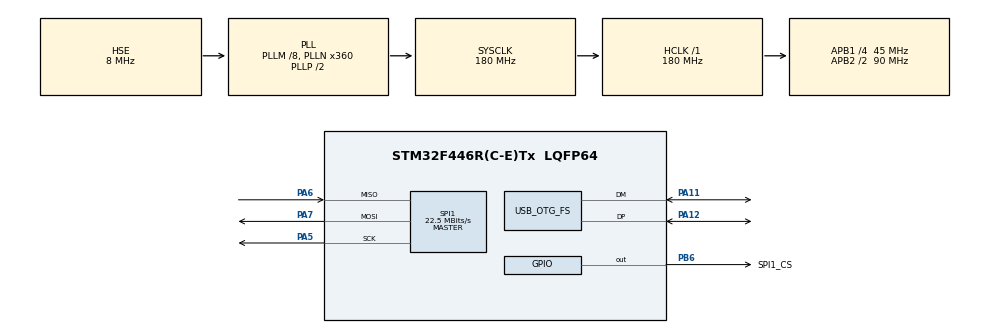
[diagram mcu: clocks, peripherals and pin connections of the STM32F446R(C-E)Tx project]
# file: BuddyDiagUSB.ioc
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Mcu.Family=STM32F4
USB_DEVICE.VirtualMode-MSC_FS=Msc
PA6.Mode=Full_Duplex_Master
USB_DEVICE.CLASS_NAME_FS=MSC
PH0-OSC_IN.Signal=RCC_OSC_IN
RCC.CortexFreq_Value=180000000
PA7.Mode=Full_Duplex_Master
SPI1.VirtualType=VM_MASTER
USB_DEVICE.VirtualModeFS=Msc_FS
PB6.GPIO_PuPd=GPIO_NOPULL
PA11.Mode=Device_Only
PB6.GPIO_Label=SPI1_CS
RCC.APB1CLKDivider=RCC_HCLK_DIV4
RCC.SYSCLKSource=RCC_SYSCLKSOURCE_PLLCLK
ProjectManager.StackSize=0x400
PA12.Signal=USB_OTG_FS_DP
ProjectManager.TargetToolchain=STM32CubeIDE
SPI1.Direction=SPI_DIRECTION_2LINES
RCC.HCLKFreq_Value=180000000
RCC.APB2TimFreq_Value=180000000
PB6.Signal=GPIO_Output
SPI1.CalculateBaudRate=22.5 MBits/s
RCC.USBFreq_Value=48000000
RCC.AHBFreq_Value=180000000
PH0-OSC_IN.Mode=HSE-External-Clock-Source
USB_DEVICE.USBD_SELF_POWERED-MSC_FS=0
RCC.USBCLockSelection=RCC_CLK48CLKSOURCE_PLLSAIP
PA5.Signal=SPI1_SCK
RCC.HSE_VALUE=8000000
board=custom
RCC.VCOOutputFreq_Value=360000000
RCC.APB2Freq_Value=90000000
USB_DEVICE.PRODUCT_STRING_MSC_FS=MassStorage
SPI1.Mode=SPI_MODE_MASTER
PH1-OSC_OUT.Signal=RCC_OSC_OUT
Mcu.Name=STM32F446R(C-E)Tx
PH1-OSC_OUT.Mode=HSE-External-Clock-Source
RCC.SYSCLKFreq_VALUE=180000000
Mcu.Package=LQFP64
PA6.Signal=SPI1_MISO
PA12.Mode=Device_Only
NVIC.OTG_FS_IRQn=true\:0\:0\:false\:false\:true\:false\:true
PB6.PinState=GPIO_PIN_RESET
PA11.Signal=USB_OTG_FS_DM
USB_OTG_FS.VirtualMode=Device_Only
ProjectManager.HeapSize=0x200
RCC.PLLSAIN=96
RCC.PLLSAIM=4
RCC.PLLSAIP=RCC_PLLSAIP_DIV4
RCC.PLLQ=7
NVIC.PriorityGroup=NVIC_PRIORITYGROUP_4
RCC.APB2CLKDivider=RCC_HCLK_DIV2
RCC.PLLM=8
RCC.PLLN=360
RCC.APB1TimFreq_Value=90000000
VP_USB_DEVICE_VS_USB_DEVICE_MSC_FS.Mode=MSC_FS
PB6.GPIO_Speed=GPIO_SPEED_FREQ_HIGH
RCC.APB1Freq_Value=45000000
SPI1.BaudRatePrescaler=SPI_BAUDRATEPRESCALER_4
PA5.Mode=Full_Duplex_Master
PA7.Signal=SPI1_MOSI
USB_DEVICE.MANUFACTURER_STRING-MSC_FS=STMElectronics

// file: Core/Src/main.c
/* USER CODE BEGIN Header */
/**
  ******************************************************************************
  * @file           : main.c
  * @brief          : Main program body
  ******************************************************************************
  * @attention
  *
  * <h2><center>&copy; Copyright (c) 2021 STMicroelectronics.
  * All rights reserved.</center></h2>
  *
  * This software component is licensed by ST under BSD 3-Clause license,
  * the "License"; You may not use this file except in compliance with the
  * License. You may obtain a copy of the License at:
  *                        opensource.org/licenses/BSD-3-Clause
  *
  ******************************************************************************
  */
/* USER CODE END Header */
#include "main.h"
#include "usb_device.h"

/* USER CODE BEGIN Includes */
#include "fatfs_sd.h"
#include <string.h>
#include "fault_config.h"
/* USER CODE END Includes */

SPI_HandleTypeDef hspi1;

void SystemClock_Config(void);
static void MX_GPIO_Init(void);
static void MX_SPI1_Init(void);

/* USER CODE BEGIN 0 */

// Enable desired fault conditions
USBFaultType_t g_ActiveFault =
		(USBFault_RandomLongDelays);

/* USER CODE END 0 */

int main(void)
{

  /* MCU Configuration--------------------------------------------------------*/

  /* Reset of all peripherals, Initializes the Flash interface and the Systick. */
  HAL_Init();

  /* Configure the system clock */
  SystemClock_Config();

  /* Initialize all configured peripherals */
  MX_GPIO_Init();
  MX_USB_DEVICE_Init();
  MX_SPI1_Init();

  /* Infinite loop */
  while (1)
  {

  }
}

void SystemClock_Config(void)
{
  RCC_OscInitTypeDef RCC_OscInitStruct = {0};
  RCC_ClkInitTypeDef RCC_ClkInitStruct = {0};
  RCC_PeriphCLKInitTypeDef PeriphClkInitStruct = {0};

  /** Configure the main internal regulator output voltage
  */
  __HAL_RCC_PWR_CLK_ENABLE();
  __HAL_PWR_VOLTAGESCALING_CONFIG(PWR_REGULATOR_VOLTAGE_SCALE1);
  /** Initializes the RCC Oscillators according to the specified parameters
  * in the RCC_OscInitTypeDef structure.
  */
  RCC_OscInitStruct.OscillatorType = RCC_OSCILLATORTYPE_HSE;
  RCC_OscInitStruct.HSEState = RCC_HSE_BYPASS;
  RCC_OscInitStruct.PLL.PLLState = RCC_PLL_ON;
  RCC_OscInitStruct.PLL.PLLSource = RCC_PLLSOURCE_HSE;
  RCC_OscInitStruct.PLL.PLLM = 8;
  RCC_OscInitStruct.PLL.PLLN = 360;
  RCC_OscInitStruct.PLL.PLLP = RCC_PLLP_DIV2;
  RCC_OscInitStruct.PLL.PLLQ = 7;
  RCC_OscInitStruct.PLL.PLLR = 2;
  if (HAL_RCC_OscConfig(&RCC_OscInitStruct) != HAL_OK)
  {
    Error_Handler();
  }
  /** Activate the Over-Drive mode
  */
  if (HAL_PWREx_EnableOverDrive() != HAL_OK)
  {
    Error_Handler();
  }
  /** Initializes the CPU, AHB and APB buses clocks
  */
  RCC_ClkInitStruct.ClockType = RCC_CLOCKTYPE_HCLK|RCC_CLOCKTYPE_SYSCLK
                              |RCC_CLOCKTYPE_PCLK1|RCC_CLOCKTYPE_PCLK2;
  RCC_ClkInitStruct.SYSCLKSource = RCC_SYSCLKSOURCE_PLLCLK;
  RCC_ClkInitStruct.AHBCLKDivider = RCC_SYSCLK_DIV1;
  RCC_ClkInitStruct.APB1CLKDivider = RCC_HCLK_DIV4;
  RCC_ClkInitStruct.APB2CLKDivider = RCC_HCLK_DIV2;

  if (HAL_RCC_ClockConfig(&RCC_ClkInitStruct, FLASH_LATENCY_5) != HAL_OK)
  {
    Error_Handler();
  }
  PeriphClkInitStruct.PeriphClockSelection = RCC_PERIPHCLK_CLK48;
  PeriphClkInitStruct.PLLSAI.PLLSAIM = 4;
  PeriphClkInitStruct.PLLSAI.PLLSAIN = 96;
  PeriphClkInitStruct.PLLSAI.PLLSAIQ = 2;
  PeriphClkInitStruct.PLLSAI.PLLSAIP = RCC_PLLSAIP_DIV4;
  PeriphClkInitStruct.PLLSAIDivQ = 1;
  PeriphClkInitStruct.Clk48ClockSelection = RCC_CLK48CLKSOURCE_PLLSAIP;
  if (HAL_RCCEx_PeriphCLKConfig(&PeriphClkInitStruct) != HAL_OK)
  {
    Error_Handler();
  }
}

static void MX_SPI1_Init(void)
{

  /* USER CODE BEGIN SPI1_Init 0 */
return;
  /* USER CODE END SPI1_Init 0 */

  /* SPI1 parameter configuration*/
  hspi1.Instance = SPI1;
  hspi1.Init.Mode = SPI_MODE_MASTER;
  hspi1.Init.Direction = SPI_DIRECTION_2LINES;
  hspi1.Init.DataSize = SPI_DATASIZE_8BIT;
  hspi1.Init.CLKPolarity = SPI_POLARITY_LOW;
  hspi1.Init.CLKPhase = SPI_PHASE_1EDGE;
  hspi1.Init.NSS = SPI_NSS_SOFT;
  hspi1.Init.BaudRatePrescaler = SPI_BAUDRATEPRESCALER_4;
  hspi1.Init.FirstBit = SPI_FIRSTBIT_MSB;
  hspi1.Init.TIMode = SPI_TIMODE_DISABLE;
  hspi1.Init.CRCCalculation = SPI_CRCCALCULATION_DISABLE;
  hspi1.Init.CRCPolynomial = 10;
  if (HAL_SPI_Init(&hspi1) != HAL_OK)
  {
    Error_Handler();
  }

}

static void MX_GPIO_Init(void)
{
  GPIO_InitTypeDef GPIO_InitStruct = {0};

  /* GPIO Ports Clock Enable */
  __HAL_RCC_GPIOH_CLK_ENABLE();
  __HAL_RCC_GPIOA_CLK_ENABLE();
  __HAL_RCC_GPIOB_CLK_ENABLE();

  /*Configure GPIO pin Output Level */
  HAL_GPIO_WritePin(SPI1_CS_GPIO_Port, SPI1_CS_Pin, GPIO_PIN_RESET);

  /*Configure GPIO pin : SPI1_CS_Pin */
  GPIO_InitStruct.Pin = SPI1_CS_Pin;
  GPIO_InitStruct.Mode = GPIO_MODE_OUTPUT_PP;
  GPIO_InitStruct.Pull = GPIO_NOPULL;
  GPIO_InitStruct.Speed = GPIO_SPEED_FREQ_HIGH;
  HAL_GPIO_Init(SPI1_CS_GPIO_Port, &GPIO_InitStruct);

}

/* USER CODE BEGIN 4 */
void MX_Real_SPI1_Init(void)
{
  hspi1.Instance = SPI1;
  hspi1.Init.Mode = SPI_MODE_MASTER;
  hspi1.Init.Direction = SPI_DIRECTION_2LINES;
  hspi1.Init.DataSize = SPI_DATASIZE_8BIT;
  hspi1.Init.CLKPolarity = SPI_POLARITY_LOW;
  hspi1.Init.CLKPhase = SPI_PHASE_1EDGE;
  hspi1.Init.NSS = SPI_NSS_SOFT;
  hspi1.Init.BaudRatePrescaler = SPI_BAUDRATEPRESCALER_8;
  hspi1.Init.FirstBit = SPI_FIRSTBIT_MSB;
  hspi1.Init.TIMode = SPI_TIMODE_DISABLE;
  hspi1.Init.CRCCalculation = SPI_CRCCALCULATION_DISABLE;
  hspi1.Init.CRCPolynomial = 10;
  if (HAL_SPI_Init(&hspi1) != HAL_OK)
  {
    Error_Handler();
  }

  HAL_Delay(100);
  SD_disk_initialize(pDrv);
  HAL_Delay(100);

}
/* USER CODE END 4 */

void Error_Handler(void)
{
  __disable_irq();
  while (1)
  {
  }
}

/************************ (C) COPYRIGHT STMicroelectronics *****END OF FILE****/
